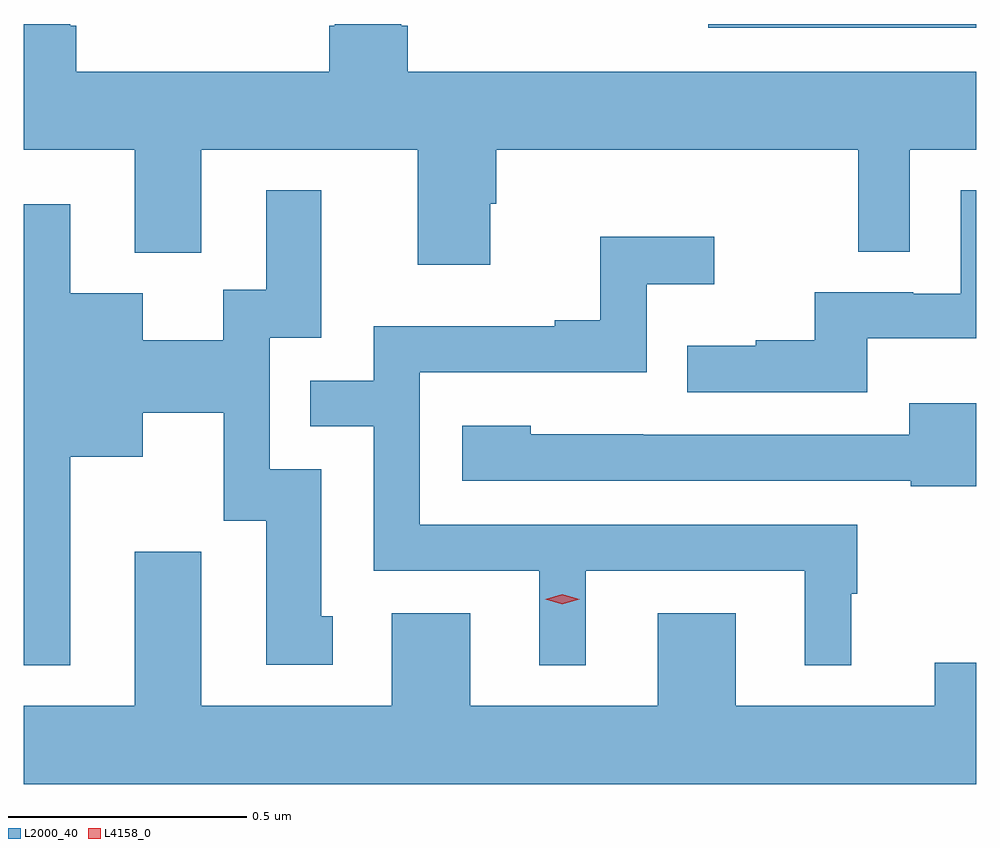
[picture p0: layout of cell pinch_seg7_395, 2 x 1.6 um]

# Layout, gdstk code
import gdstk
lib = gdstk.Library(unit=1e-6, precision=1e-09)
def R(c, l, rs):  # rectangles x0, y0, x1, y1
    for r in rs: c.add(gdstk.rectangle(r[:2], r[2:], *l))
def P(c, l, *ps):  # polygons
    for p in ps: c.add(gdstk.Polygon(p, *l))
L2000_40 = (2000, 40)
L4158_0 = (4158, 0)

pinch_seg7_395 = lib.new_cell('pinch_seg7_395')
R(pinch_seg7_395, L2000_40, [(370.929,1032.84,371.492,1032.848)])
P(pinch_seg7_395, L2000_40, [(370.471,1032.471),(370.484,1032.471),(370.484,1032.584),(371.244,1032.584),(371.244,1032.37),(371.352,1032.37),(371.352,1032.584),(371.492,1032.584),(371.492,1032.748),(370.298,1032.748),(370.298,1032.844),(370.285,1032.844),(370.285,1032.848),(370.145,1032.848),(370.145,1032.844),(370.133,1032.844),(370.133,1032.748),(369.602,1032.748),(369.602,1032.844),(369.589,1032.844),(369.589,1032.848),(369.492,1032.848),(369.492,1032.584),(369.725,1032.584),(369.725,1032.368),(369.865,1032.368),(369.865,1032.584),(370.319,1032.584),(370.319,1032.342),(370.471,1032.342)],
  [(369.589,1031.939),(369.742,1031.939),(369.742,1032.032),(369.912,1032.032),(369.912,1031.805),(370.001,1031.805),(370.001,1031.502),(370.141,1031.502),(370.141,1031.604),(370.117,1031.604),(370.117,1031.913),(370.008,1031.913),(370.008,1032.189),(370.117,1032.189),(370.117,1032.499),(370.001,1032.499),(370.001,1032.29),(369.911,1032.29),(369.911,1032.184),(369.742,1032.184),(369.742,1032.283),(369.589,1032.283),(369.589,1032.469),(369.492,1032.469),(369.492,1031.501),(369.589,1031.501)],
  [(371.263,1032.188),(371.492,1032.188),(371.492,1032.499),(371.46,1032.499),(371.46,1032.282),(371.36,1032.282),(371.36,1032.285),(371.153,1032.285),(371.153,1032.184),(371.029,1032.184),(371.029,1032.172),(370.885,1032.172),(370.885,1032.075),(371.263,1032.075)],
  [(370.672,1031.7),(371.132,1031.7),(371.132,1031.501),(371.23,1031.501),(371.23,1031.652),(371.242,1031.652),(371.242,1031.796),(370.323,1031.796),(370.323,1032.117),(370.8,1032.117),(370.8,1032.302),(370.942,1032.302),(370.942,1032.401),(370.702,1032.401),(370.702,1032.226),(370.607,1032.226),(370.607,1032.213),(370.227,1032.213),(370.227,1032.099),(370.093,1032.099),(370.093,1032.003),(370.227,1032.003),(370.227,1031.7),(370.574,1031.7),(370.574,1031.501),(370.672,1031.501)],
  [(371.492,1032.052),(371.351,1032.052),(371.351,1031.985),(370.793,1031.985),(370.793,1031.986),(370.557,1031.986),(370.557,1032.004),(370.413,1032.004),(370.413,1031.889),(371.355,1031.889),(371.355,1031.877),(371.492,1031.877)],
  [(371.492,1031.507),(371.405,1031.507),(371.405,1031.416),(370.987,1031.416),(370.987,1031.611),(370.823,1031.611),(370.823,1031.416),(370.429,1031.416),(370.429,1031.611),(370.265,1031.611),(370.265,1031.416),(369.865,1031.416),(369.865,1031.74),(369.725,1031.74),(369.725,1031.416),(369.492,1031.416),(369.492,1031.252),(371.492,1031.252)])
P(pinch_seg7_395, L4158_0, [(370.623,1031.63),(370.587,1031.64),(370.587,1031.64),(370.587,1031.64),(370.623,1031.65),(370.659,1031.64),(370.659,1031.64),(370.659,1031.64)])

lib.write_gds('pinch_seg7_395.gds')
